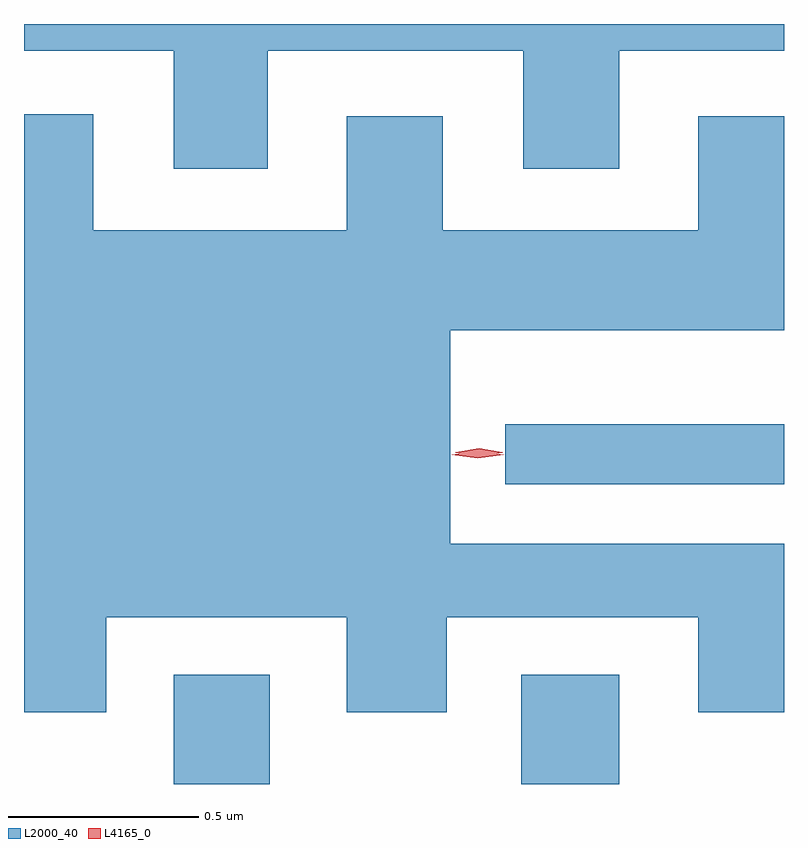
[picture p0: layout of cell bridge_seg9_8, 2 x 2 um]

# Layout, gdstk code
import gdstk
lib = gdstk.Library(unit=1e-6, precision=1e-09)
def R(c, l, rs):  # rectangles x0, y0, x1, y1
    for r in rs: c.add(gdstk.rectangle(r[:2], r[2:], *l))
def P(c, l, *ps):  # polygons
    for p in ps: c.add(gdstk.Polygon(p, *l))
L2000_40 = (2000, 40)
L4165_0 = (4165, 0)

bridge_seg9_8 = lib.new_cell('bridge_seg9_8')
R(bridge_seg9_8, L2000_40, [(1712.301,2058.707,1712.554,2058.994), (1713.216,2058.707,1713.474,2058.994), (1713.173,2059.496,1713.907,2059.654)])
P(bridge_seg9_8, L2000_40, [(1712.549,2060.636),(1713.221,2060.636),(1713.221,2060.326),(1713.474,2060.326),(1713.474,2060.636),(1713.907,2060.636),(1713.907,2060.707),(1711.907,2060.707),(1711.907,2060.636),(1712.301,2060.636),(1712.301,2060.326),(1712.549,2060.326)],
  [(1712.124,2059.146),(1712.756,2059.146),(1712.756,2058.896),(1713.019,2058.896),(1713.019,2059.146),(1713.681,2059.146),(1713.681,2058.896),(1713.907,2058.896),(1713.907,2059.339),(1713.029,2059.339),(1713.029,2059.901),(1713.907,2059.901),(1713.907,2060.464),(1713.681,2060.464),(1713.681,2060.164),(1713.009,2060.164),(1713.009,2060.464),(1712.756,2060.464),(1712.756,2060.164),(1712.089,2060.164),(1712.089,2060.469),(1711.907,2060.469),(1711.907,2058.896),(1712.124,2058.896)])
P(bridge_seg9_8, L4165_0, [(1713.105,2059.57),(1713.043,2059.579),(1713.042,2059.58),(1713.043,2059.58),(1713.105,2059.59),(1713.166,2059.58),(1713.167,2059.58),(1713.166,2059.579)],
  [(1713.101,2059.564),(1713.032,2059.573),(1713.032,2059.573),(1713.032,2059.574),(1713.101,2059.584),(1713.17,2059.574),(1713.17,2059.573),(1713.17,2059.573)])

lib.write_gds('bridge_seg9_8.gds')
